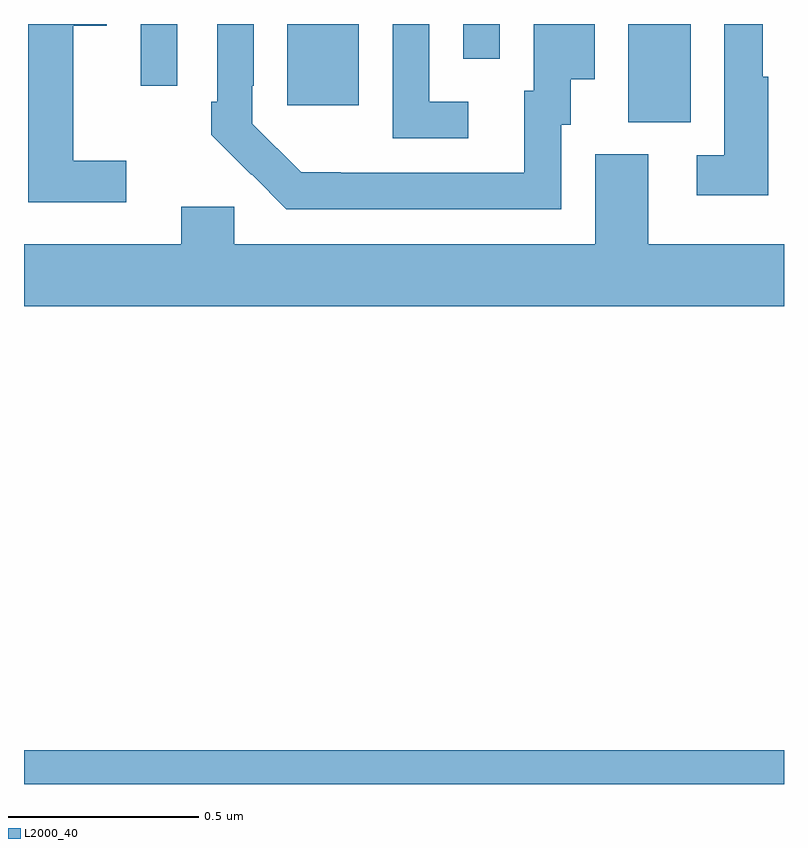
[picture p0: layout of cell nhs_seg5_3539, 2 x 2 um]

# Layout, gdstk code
import gdstk
lib = gdstk.Library(unit=1e-6, precision=1e-09)
def R(c, l, rs):  # rectangles x0, y0, x1, y1
    for r in rs: c.add(gdstk.rectangle(r[:2], r[2:], *l))
def P(c, l, *ps):  # polygons
    for p in ps: c.add(gdstk.Polygon(p, *l))
L2000_40 = (2000, 40)

nhs_seg5_3539 = lib.new_cell('nhs_seg5_3539')
R(nhs_seg5_3539, L2000_40, [(158,892.799,160,892.888), (159.59,894.541,159.754,894.799), (158.693,894.585,158.881,894.799), (158.307,894.636,158.403,894.799), (159.156,894.708,159.252,894.799)])
P(nhs_seg5_3539, L2000_40, [(159.169,894.594),(159.066,894.594),(159.066,894.799),(158.97,894.799),(158.97,894.498),(159.169,894.498)],
  [(158.269,894.439),(158.129,894.439),(158.129,894.794),(158.218,894.794),(158.218,894.799),(158.011,894.799),(158.011,894.33),(158.269,894.33)],
  [(159.959,894.66),(159.944,894.66),(159.944,894.799),(159.843,894.799),(159.843,894.453),(159.771,894.453),(159.771,894.348),(159.959,894.348)],
  [(159.414,894.534),(159.439,894.534),(159.439,894.653),(159.502,894.653),(159.502,894.799),(159.341,894.799),(159.341,894.624),(159.317,894.624),(159.317,894.408),(158.833,894.408),(158.833,894.409),(158.73,894.409),(158.601,894.537),(158.601,894.637),(158.604,894.637),(158.604,894.799),(158.508,894.799),(158.508,894.595),(158.493,894.595),(158.493,894.507),(158.598,894.402),(158.599,894.403),(158.69,894.312),(159.414,894.312)],
  [(160,894.22),(159.643,894.22),(159.643,894.456),(159.503,894.456),(159.503,894.22),(158.553,894.22),(158.553,894.318),(158.414,894.318),(158.414,894.22),(158,894.22),(158,894.056),(160,894.056)])

lib.write_gds('nhs_seg5_3539.gds')
